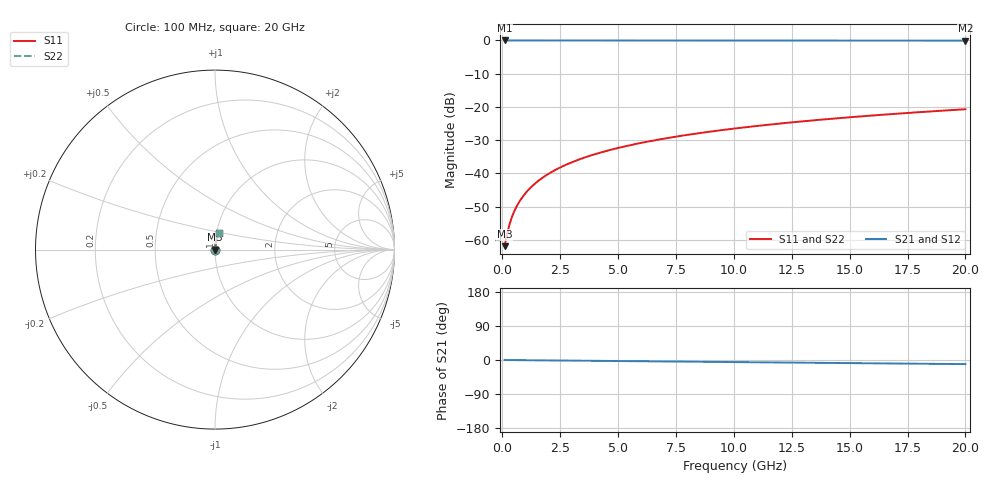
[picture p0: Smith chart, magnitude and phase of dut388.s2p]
! Touchstone file exported from HFSS 2026.1.0
!  File:  C:/ffzhzh/LocalFiles/Ansys_Project_Files/temp_train_TSV_388_1783019962_51716.aedt
!  Generated:  03:21:57 AM Jul  3, 2026
!  Design:  TSV
!  Project:  temp_train_TSV_388_1783019962_51716
! Variables:
!  h_bsmrdl = 2um
!  h_ox = 20um
!  h_rdl = 5um
!  h_sub = 96.63um
!  h_tmrdl = 5um
!  h_tsv = 96.63um
!  h_via = 3um
!  l_bsmrdl = 300um
!  l_sub = 408.66um
!  l_tmrdl = 200um
!  m_sub = 200um
!  pitch = 40.32um
!  r_tsv = 4.33um
!  s_tmrdl = 10um
!  w_bsmrdl = 18um
!  w_sub = 500um
!  w_tmrdl = 12um
!  x_tsv_center1 = 206um
!  x_tsv_center2 = 524um
!  x_tsv_center3 = 736um
!  x_tsv_center4 = 1054um
!  x_tsv_center5 = 1266um
!  x_tsv_center6 = 1584um
# GHz S MA R 50.000000
! Terminal data exported
! Port[1] = TSV1_1_T1
! Port[2] = TSV1_1_T2
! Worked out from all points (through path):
!   200 points, 100 MHz to 20 GHz, reference 50 ohm
!   highest |S21| = -0.01 dB at 100 MHz (marker M1); lowest = -0.1 dB at 20 GHz (marker M2)
!   group delay of S21, straight-line fit = 1.51 ps
!   lowest |S11| = -61.9 dB at 100 MHz (marker M3), VSWR 1.00, Z = 50.1 + j0.051 ohm
!   |S11| at or under -10 dB: start of sweep to end of sweep
!   |S22| runs from -61.9 to -20.7 dB; largest |S21 - S12| = 4.3e-15
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0.1  0.0007996 39.6  0.9994 -0.1  0.9994 -0.1  0.0007996 39.6
! Gamma 0 0 0 0
! Port Impedance 50 0 50 0
0.2  0.001194 58.3  0.9994 -0.1  0.9994 -0.1  0.001194 58.3
0.3  0.001648 67.0  0.9994 -0.2  0.9994 -0.2  0.001648 67.0
0.4  0.002119 71.8  0.9993 -0.2  0.9993 -0.2  0.002119 71.8
0.5  0.002597 74.7  0.9993 -0.3  0.9993 -0.3  0.002597 74.7
0.6  0.003077 76.8  0.9993 -0.3  0.9993 -0.3  0.003077 76.8
0.8  0.00404 79.4  0.9993 -0.5  0.9993 -0.5  0.00404 79.4
1.1  0.00549 81.5  0.9992 -0.6  0.9992 -0.6  0.00549 81.5
1.5  0.007425 83.0  0.9992 -0.8  0.9992 -0.8  0.007425 83.0
1.8  0.008875 83.5  0.9991 -1.0  0.9991 -1.0  0.008875 83.5
2.1  0.01032 83.9  0.999 -1.2  0.999 -1.2  0.01032 83.9
2.7  0.0132 84.2  0.9989 -1.5  0.9989 -1.5  0.0132 84.2
3.5  0.01701 84.2  0.9987 -1.9  0.9987 -1.9  0.01701 84.2
4.2  0.02031 84.1  0.9985 -2.3  0.9985 -2.3  0.02031 84.1
5  0.02406 83.9  0.9983 -2.8  0.9983 -2.8  0.02406 83.9
5.9  0.02824 83.6  0.9981 -3.3  0.9981 -3.3  0.02824 83.6
6.8  0.0324 83.3  0.9978 -3.8  0.9978 -3.8  0.0324 83.3
8.3  0.03929 82.7  0.9974 -4.6  0.9974 -4.6  0.03929 82.7
10.1  0.04752 82.0  0.9968 -5.5  0.9968 -5.5  0.04752 82.0
13.4  0.06251 80.5  0.9957 -7.3  0.9957 -7.3  0.06251 80.5
16.7  0.07737 79.0  0.9944 -9.1  0.9944 -9.1  0.07737 78.9
20  0.09206 77.3  0.9929 -10.9  0.9929 -10.9  0.09206 77.3
